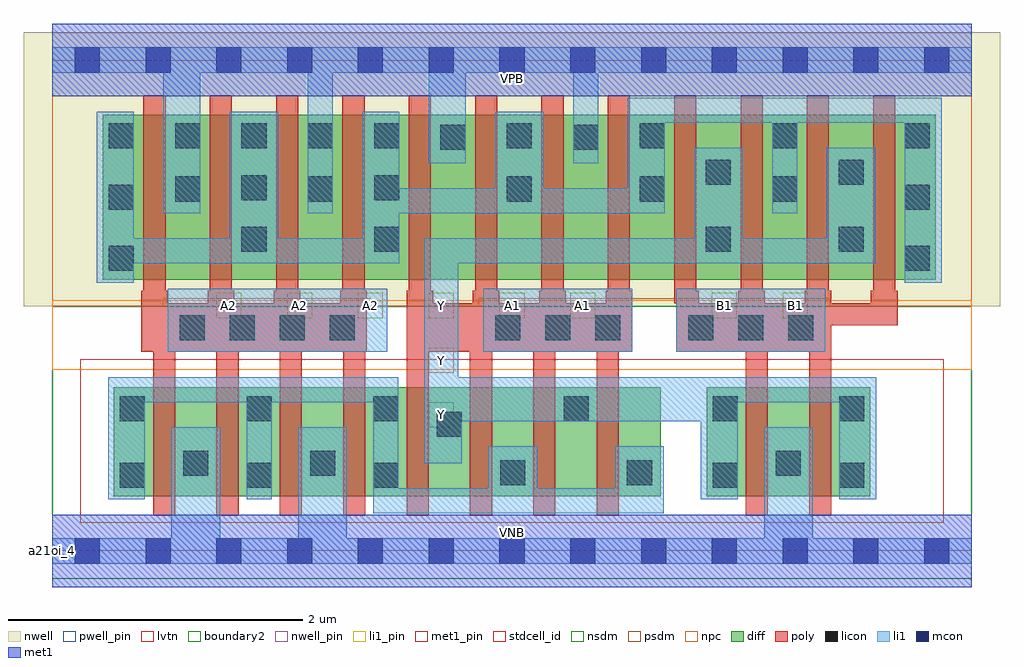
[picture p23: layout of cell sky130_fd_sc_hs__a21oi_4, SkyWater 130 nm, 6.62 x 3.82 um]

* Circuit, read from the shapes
.subckt sky130_fd_sc_hs__a21oi_4 A1 A2 B1 VGND VNB VPB VPWR Y
XM1 VGND A2 n1 VNB sky130_fd_pr__nfet_01v8_lvt w=0.74 l=0.15 m=4
XM2 Y A1 n1 VNB sky130_fd_pr__nfet_01v8_lvt w=0.74 l=0.15 m=4
XM3 VGND B1 Y VNB sky130_fd_pr__nfet_01v8_lvt w=0.74 l=0.15 m=2
XM4 VPWR A2 n2 VPB sky130_fd_pr__pfet_01v8 w=1.12 l=0.15 m=4
XM5 VPWR A1 n2 VPB sky130_fd_pr__pfet_01v8 w=1.12 l=0.15 m=4
XM6 Y B1 n2 VPB sky130_fd_pr__pfet_01v8 w=1.12 l=0.15 m=4
.ends

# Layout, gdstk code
import gdstk
lib = gdstk.Library(unit=1e-6, precision=1e-09)
def R(c, l, rs):  # rectangles x0, y0, x1, y1
    for r in rs: c.add(gdstk.rectangle(r[:2], r[2:], *l))
def A(c, l, x, y, w, h, nx, ny, dx, dy):  # array of equal rectangles
    R(c, l, [(x+i*dx, y+j*dy, x+i*dx+w, y+j*dy+h) for i in range(nx) for j in range(ny)])
def P(c, l, *ps):  # polygons
    for p in ps: c.add(gdstk.Polygon(p, *l))
nwell_pin = (64, 16)
nwell = (64, 20)
diff = (65, 20)
poly = (66, 20)
licon = (66, 44)
li1_pin = (67, 16)
li1 = (67, 20)
mcon = (67, 44)
met1_pin = (68, 16)
met1 = (68, 20)
stdcell_id = (81, 4)
nsdm = (93, 44)
psdm = (94, 20)
npc = (95, 20)
pwell_pin = (122, 16)
lvtn = (125, 44)
boundary2 = (236, 0)

sky130_fd_sc_hs__a21oi_4 = lib.new_cell('sky130_fd_sc_hs__a21oi_4')
R(sky130_fd_sc_hs__a21oi_4, nwell_pin, [(0,3.085,6.24,3.33)])
R(sky130_fd_sc_hs__a21oi_4, nwell, [(-0.19,1.66,6.43,3.52)])
R(sky130_fd_sc_hs__a21oi_4, diff, [(0.42,0.37,4.13,1.11), (4.44,0.37,5.55,1.11), (0.345,1.84,5.995,2.96)])
P(sky130_fd_sc_hs__a21oi_4, poly, [(2.135,1.765),(2.12,1.765),(2.12,3.09),(1.97,3.09),(1.97,1.765),(1.955,1.765),(1.955,1.68),(1.685,1.68),(1.685,1.765),(1.67,1.765),(1.67,3.09),(1.52,3.09),(1.52,1.765),(1.505,1.765),(1.505,1.68),(1.235,1.68),(1.235,1.765),(1.22,1.765),(1.22,3.09),(1.07,3.09),(1.07,1.765),(1.055,1.765),(1.055,1.68),(0.785,1.68),(0.785,1.765),(0.77,1.765),(0.77,3.09),(0.62,3.09),(0.62,1.765),(0.605,1.765),(0.605,1.35),(0.685,1.35),(0.685,0.24),(0.835,0.24),(0.835,1.35),(1.115,1.35),(1.115,0.24),(1.265,0.24),(1.265,1.35),(1.545,1.35),(1.545,0.24),(1.695,0.24),(1.695,1.35),(1.975,1.35),(1.975,0.24),(2.125,0.24),(2.125,1.35),(2.135,1.35)],
  [(3.935,1.765),(3.92,1.765),(3.92,3.09),(3.77,3.09),(3.77,1.765),(3.755,1.765),(3.755,1.68),(3.485,1.68),(3.485,1.765),(3.47,1.765),(3.47,3.09),(3.32,3.09),(3.32,1.765),(3.305,1.765),(3.305,1.68),(3.035,1.68),(3.035,1.765),(3.02,1.765),(3.02,3.09),(2.87,3.09),(2.87,1.765),(2.855,1.765),(2.855,1.68),(2.585,1.68),(2.585,1.765),(2.57,1.765),(2.57,3.09),(2.42,3.09),(2.42,1.765),(2.405,1.765),(2.405,0.24),(2.555,0.24),(2.555,1.35),(2.835,1.35),(2.835,0.24),(2.985,0.24),(2.985,1.35),(3.265,1.35),(3.265,0.24),(3.415,0.24),(3.415,1.35),(3.695,1.35),(3.695,0.24),(3.845,0.24),(3.845,1.35),(3.935,1.35)],
  [(5.735,1.765),(5.72,1.765),(5.72,3.09),(5.57,3.09),(5.57,1.765),(5.555,1.765),(5.555,1.68),(5.285,1.68),(5.285,1.765),(5.27,1.765),(5.27,3.09),(5.12,3.09),(5.12,1.765),(5.105,1.765),(5.105,1.68),(4.835,1.68),(4.835,1.765),(4.82,1.765),(4.82,3.09),(4.67,3.09),(4.67,1.765),(4.655,1.765),(4.655,1.68),(4.385,1.68),(4.385,1.765),(4.37,1.765),(4.37,3.09),(4.22,3.09),(4.22,1.68),(4.235,1.68),(4.235,1.35),(4.705,1.35),(4.705,0.24),(4.855,0.24),(4.855,1.35),(5.135,1.35),(5.135,0.24),(5.285,0.24),(5.285,1.53),(5.735,1.53)])
A(sky130_fd_sc_hs__a21oi_4, licon, 0.46, 0.43, 0.17, 0.17, 3, 2, 0.86, 0.45)
A(sky130_fd_sc_hs__a21oi_4, licon, 0.865, 1.43, 0.17, 0.17, 4, 1, 0.34, 0)
A(sky130_fd_sc_hs__a21oi_4, licon, 3.005, 1.43, 0.17, 0.17, 3, 1, 0.34, 0)
A(sky130_fd_sc_hs__a21oi_4, licon, 4.315, 1.43, 0.17, 0.17, 3, 1, 0.34, 0)
A(sky130_fd_sc_hs__a21oi_4, licon, 3.085, 2.37, 0.17, 0.17, 3, 1, 0.9, 0)
A(sky130_fd_sc_hs__a21oi_4, licon, 0.385, 2.73, 0.17, 0.17, 5, 1, 0.45, 0)
A(sky130_fd_sc_hs__a21oi_4, licon, 3.085, 2.73, 0.17, 0.17, 4, 1, 0.9, 0)
R(sky130_fd_sc_hs__a21oi_4, licon, [(4.48,0.43,4.65,0.6), (5.34,0.43,5.51,0.6), (3.04,0.445,3.21,0.615), (3.9,0.445,4.07,0.615), (0.89,0.51,1.06,0.68), (1.75,0.51,1.92,0.68), (4.91,0.51,5.08,0.68), (2.61,0.775,2.78,0.945), (3.47,0.88,3.64,1.05), (4.48,0.88,4.65,1.05), (5.34,0.88,5.51,1.05), (0.385,1.9,0.555,2.07), (5.785,1.9,5.955,2.07), (1.285,2.03,1.455,2.2), (2.185,2.03,2.355,2.2), (4.435,2.03,4.605,2.2), (5.335,2.03,5.505,2.2), (0.385,2.315,0.555,2.485), (5.785,2.315,5.955,2.485), (0.835,2.37,1.005,2.54), (1.735,2.37,1.905,2.54), (1.285,2.38,1.455,2.55), (2.185,2.38,2.355,2.55), (4.435,2.485,4.605,2.655), (5.335,2.485,5.505,2.655), (2.635,2.72,2.805,2.89), (3.535,2.72,3.705,2.89)])
A(sky130_fd_sc_hs__a21oi_4, li1_pin, 1.115, 1.58, 0.17, 0.17, 6, 1, 0.48, 0)
R(sky130_fd_sc_hs__a21oi_4, li1_pin, [(2.555,0.84,2.725,1.01), (2.555,1.21,2.725,1.38), (4.475,1.58,4.645,1.75), (4.955,1.58,5.125,1.75)])
R(sky130_fd_sc_hs__a21oi_4, li1, [(0.785,1.35,2.275,1.78), (2.925,1.35,3.935,1.78), (4.235,1.35,5.245,1.78)])
P(sky130_fd_sc_hs__a21oi_4, li1, [(3.535,2.63),(3.535,3.245),(2.805,3.245),(2.805,2.63),(2.555,2.63),(2.555,3.245),(1.905,3.245),(1.905,2.29),(1.735,2.29),(1.735,3.245),(1.005,3.245),(1.005,2.29),(0.755,2.29),(0.755,3.245),(0,3.245),(0,3.415),(6.24,3.415),(6.24,3.245),(3.705,3.245),(3.705,2.63)],
  [(1.67,0.085),(1.67,0.84),(2,0.84),(2,0.085),(4.83,0.085),(4.83,0.84),(5.16,0.84),(5.16,0.085),(6.24,0.085),(6.24,-0.085),(0,-0.085),(0,0.085),(0.81,0.085),(0.81,0.84),(1.14,0.84),(1.14,0.085)],
  [(5.785,1.82),(5.785,2.905),(5.055,2.905),(5.055,2.29),(4.885,2.29),(4.885,2.905),(4.155,2.905),(4.155,2.29),(2.355,2.29),(2.355,1.95),(0.555,1.95),(0.555,1.82),(0.305,1.82),(0.305,2.98),(0.555,2.98),(0.555,2.12),(1.205,2.12),(1.205,2.98),(1.535,2.98),(1.535,2.12),(2.105,2.12),(2.105,2.98),(2.355,2.98),(2.355,2.46),(3.005,2.46),(3.005,2.98),(3.335,2.98),(3.335,2.46),(3.905,2.46),(3.905,3.075),(6.035,3.075),(6.035,1.82)],
  [(2.525,2.12),(4.355,2.12),(4.355,2.735),(4.685,2.735),(4.685,2.12),(5.255,2.12),(5.255,2.735),(5.585,2.735),(5.585,1.95),(2.755,1.95),(2.755,1.18),(5.59,1.18),(5.59,0.35),(5.34,0.35),(5.34,1.01),(4.65,1.01),(4.65,0.35),(4.4,0.35),(4.4,0.88),(2.78,0.88),(2.78,0.595),(2.525,0.595)],
  [(1.32,0.35),(1.32,1.01),(0.63,1.01),(0.63,0.35),(0.38,0.35),(0.38,1.18),(2.35,1.18),(2.35,0.425),(2.96,0.425),(2.96,0.71),(3.29,0.71),(3.29,0.425),(3.82,0.425),(3.82,0.71),(4.15,0.71),(4.15,0.255),(2.18,0.255),(2.18,1.01),(1.49,1.01),(1.49,0.35)])
A(sky130_fd_sc_hs__a21oi_4, mcon, 0.155, -0.085, 0.17, 0.17, 13, 2, 0.48, 3.33)
R(sky130_fd_sc_hs__a21oi_4, met1_pin, [(0,0,6.24,0.245), (0,3.085,6.24,3.33)])
R(sky130_fd_sc_hs__a21oi_4, met1, [(0,-0.245,6.24,0.245), (0,3.085,6.24,3.575)])
R(sky130_fd_sc_hs__a21oi_4, stdcell_id, [(0,0,6.24,3.33)])
R(sky130_fd_sc_hs__a21oi_4, nsdm, [(0,-0.19,6.24,1.66)])
P(sky130_fd_sc_hs__a21oi_4, psdm, [(6.24,3.52),(0,3.52),(0,1.66),(0.755,1.66),(0.755,1.71),(2.165,1.71),(2.165,1.66),(2.895,1.66),(2.895,1.71),(5.275,1.71),(5.275,1.66),(6.24,1.66)])
R(sky130_fd_sc_hs__a21oi_4, npc, [(0,1.23,6.24,1.7)])
R(sky130_fd_sc_hs__a21oi_4, pwell_pin, [(0,0,6.24,0.245)])
R(sky130_fd_sc_hs__a21oi_4, lvtn, [(0.19,0.19,6.05,1.3)])
R(sky130_fd_sc_hs__a21oi_4, boundary2, [(0,0,6.24,3.33)])
sky130_fd_sc_hs__a21oi_4.add(gdstk.Label('a21oi_4', (0,0), layer=83, texttype=44))
sky130_fd_sc_hs__a21oi_4.add(gdstk.Label('VNB', (3.12,0.123), layer=64, texttype=59))
sky130_fd_sc_hs__a21oi_4.add(gdstk.Label('VPB', (3.12,3.208), layer=64, texttype=5))
sky130_fd_sc_hs__a21oi_4.add(gdstk.Label('VPWR', (3.12,3.208), layer=68, texttype=5))
sky130_fd_sc_hs__a21oi_4.add(gdstk.Label('VGND', (3.12,0.123), layer=68, texttype=5))
sky130_fd_sc_hs__a21oi_4.add(gdstk.Label('Y', (2.64,0.925), layer=67, texttype=5))
sky130_fd_sc_hs__a21oi_4.add(gdstk.Label('Y', (2.64,1.295), layer=67, texttype=5))
sky130_fd_sc_hs__a21oi_4.add(gdstk.Label('Y', (2.64,1.665), layer=67, texttype=5))
sky130_fd_sc_hs__a21oi_4.add(gdstk.Label('B1', (4.56,1.665), layer=67, texttype=5))
sky130_fd_sc_hs__a21oi_4.add(gdstk.Label('B1', (5.04,1.665), layer=67, texttype=5))
sky130_fd_sc_hs__a21oi_4.add(gdstk.Label('A2', (1.2,1.665), layer=67, texttype=5))
sky130_fd_sc_hs__a21oi_4.add(gdstk.Label('A2', (1.68,1.665), layer=67, texttype=5))
sky130_fd_sc_hs__a21oi_4.add(gdstk.Label('A2', (2.16,1.665), layer=67, texttype=5))
sky130_fd_sc_hs__a21oi_4.add(gdstk.Label('A1', (3.12,1.665), layer=67, texttype=5))
sky130_fd_sc_hs__a21oi_4.add(gdstk.Label('A1', (3.6,1.665), layer=67, texttype=5))

lib.write_gds('sky130_fd_sc_hs__a21oi_4.gds')
